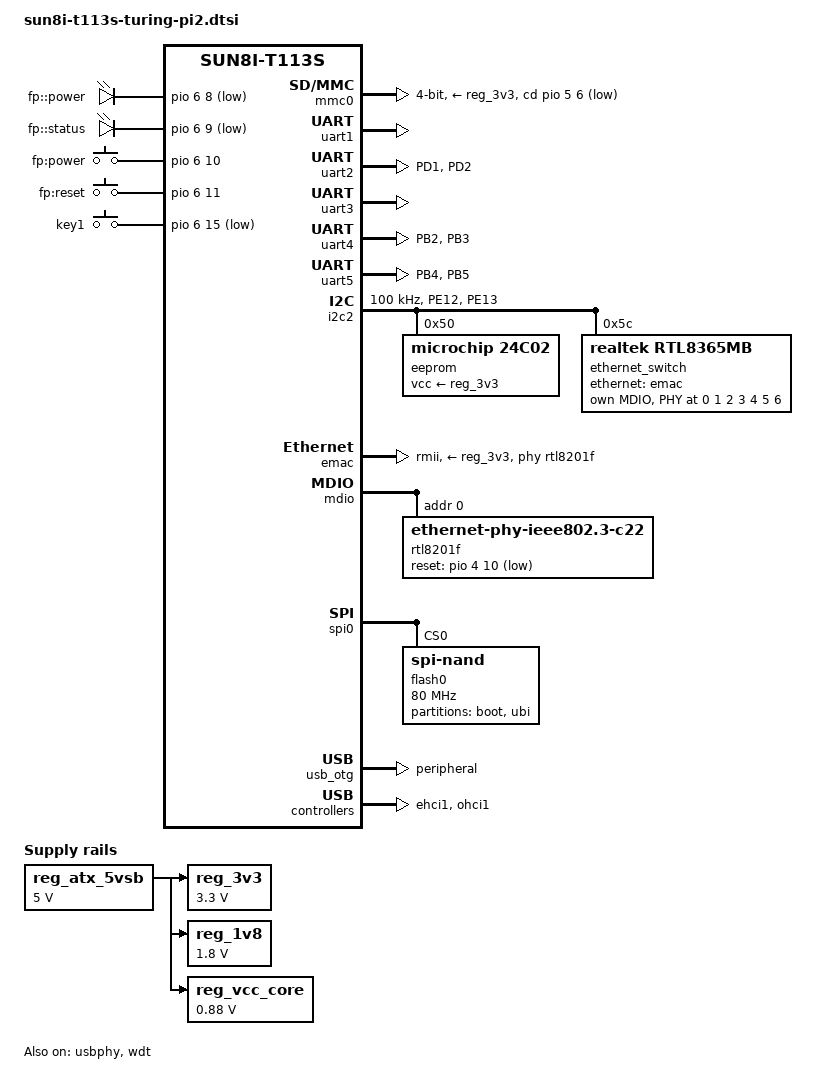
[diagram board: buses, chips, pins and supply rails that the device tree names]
// SPDX-License-Identifier: GPL-2.0+
// Copyright (C) 2023-2024 Sam Edwards <CFSworks@gmail.com>

/dts-v1/;

#ifdef __ASSEMBLY__
#define IS_UBOOT
#endif

#ifdef IS_UBOOT
#include "sun8i-t113s.dtsi"
#else
#include "allwinner/sun8i-t113s.dtsi"
#endif
#include <dt-bindings/gpio/gpio.h>
#include <dt-bindings/input/input.h>

/ {
	compatible = "turing,pi2", "allwinner,sun8i-t113s";

	aliases {
		ethernet0 = &emac;
		serial0 = &uart3;
		serial1 = &uart2;
		serial2 = &uart1;
		serial3 = &uart4;
		serial4 = &uart5;
		flash0 = &flash0;
	};

	// The LEDs are actually GPIO lines that go to the front-panel LEDs.
	leds {
		compatible = "gpio-leds";

		led-0 {
			label = "fp::power";
			gpios = <&pio 6 8 GPIO_ACTIVE_LOW>; /* PG8 */
		};

		led-1 {
			label = "fp::status";
			gpios = <&pio 6 9 GPIO_ACTIVE_LOW>; /* PG9 */
		};
	};

	keys {
		compatible = "gpio-keys";

		// Part of the front-panel connector
		button-power {
			label = "fp:power";
			linux,code = <KEY_POWER>;
			gpios = <&pio 6 10 GPIO_ACTIVE_HIGH>; /* PG10 */
		};

		button-reset {
			label = "fp:reset";
			linux,code = <KEY_RESTART>;
			gpios = <&pio 6 11 GPIO_ACTIVE_HIGH>; /* PG11 */
		};

		// Located on the board itself
		key-1 {
			label = "key1";
			linux,code = <KEY_1>;
			gpios = <&pio 6 15 GPIO_ACTIVE_LOW>; /* PG15 */
		};
	};

	reg_atx_5vsb: regulator-5v {
		compatible = "regulator-fixed";
		regulator-name = "atx-5vsb";
		regulator-min-microvolt = <5000000>;
		regulator-max-microvolt = <5000000>;
		regulator-always-on;
	};

	reg_3v3: regulator-3v3 {
		compatible = "regulator-fixed";
		regulator-name = "vcc-3v3";
		regulator-min-microvolt = <3300000>;
		regulator-max-microvolt = <3300000>;
		vin-supply = <&reg_atx_5vsb>;
	};

	reg_1v8: regulator-1v8 {
		compatible = "regulator-fixed";
		regulator-name = "vcc-1v8";
		regulator-min-microvolt = <1800000>;
		regulator-max-microvolt = <1800000>;
		vin-supply = <&reg_atx_5vsb>;
	};

	reg_vcc_core: regulator-core {
		compatible = "regulator-fixed";
		regulator-name = "vcc-core";
		regulator-min-microvolt = <880000>;
		regulator-max-microvolt = <880000>;
		vin-supply = <&reg_atx_5vsb>;
	};
};

/*
 * The SoC's thermal sensor. Mainline describes every other T113s peripheral
 * but not this one: sun8i-t113s.dtsi and the shared sunxi-d1*-t113 dtsis
 * contain no ths node and no thermal-zones, so CONFIG_SUN8I_THERMAL builds a
 * driver that never binds to anything. The result on a running board is
 * /sys/class/thermal holding only the fan's cooling_device0 -- an actuator,
 * with nothing to actuate against -- which is why the fan sits at full speed
 * and why nothing anywhere can report the board's temperature.
 *
 * Everything the driver needs is already present:
 *   - drivers/thermal/sun8i_thermal.c matches "allwinner,sun20i-d1-ths"
 *   - CLK_BUS_THS and RST_BUS_THS are defined for the D1/T113 CCU, and
 *     ccu-sun20i-d1.c implements bus_ths_clk
 * so this is a device tree gap, not a driver one.
 *
 * Register base: gpadc sits at 0x2009000 with length 0x400, and the THS block
 * follows it immediately. Interrupt 58 is free and falls between gpadc (57)
 * and the timers (59), matching the D1 peripheral ordering.
 *
 * Calibration is deliberately NOT wired up. The driver treats the nvmem cell
 * as optional and says so: "Even if the external calibration data stored in
 * sid is not accessible, the THS hardware can still work, although the data
 * won't be so accurate." An absent cell degrades accuracy; a cell pointed at
 * the wrong efuse offset would silently skew every reading instead, which is
 * worse. Get a sensor reporting first, then refine it against a known
 * reference.
 */
&{/soc} {
	ths: thermal-sensor@2009400 {
		compatible = "allwinner,sun20i-d1-ths";
		reg = <0x2009400 0x400>;
		interrupts = <SOC_PERIPHERAL_IRQ(58) IRQ_TYPE_LEVEL_HIGH>;
		clocks = <&ccu CLK_BUS_THS>;
		clock-names = "bus";
		resets = <&ccu RST_BUS_THS>;
		#thermal-sensor-cells = <0>;
	};
};

/ {
	thermal-zones {
		bmc-thermal {
			polling-delay-passive = <1000>;
			polling-delay = <5000>;
			thermal-sensors = <&ths>;

			trips {
				/*
				 * "hot" only raises a notification. There is
				 * deliberately no "critical" trip: that would
				 * hand an UNCALIBRATED sensor the power to
				 * shut the board down, and a BMC that powers
				 * itself off is a service call. Add one once
				 * the readings have been checked against a
				 * reference.
				 */
				bmc_hot: bmc-hot {
					temperature = <95000>;
					hysteresis = <5000>;
					type = "hot";
				};
			};
		};
	};
};

&dcxo {
	clock-frequency = <24000000>;
};

&cpu0 {
	clock-frequency = <1008000000>;
	cpu-supply = <&reg_vcc_core>;
};

&cpu1 {
	clock-frequency = <1008000000>;
	cpu-supply = <&reg_vcc_core>;
};

&pio {
	vcc-pb-supply = <&reg_3v3>;
	vcc-pc-supply = <&reg_3v3>;
	vcc-pd-supply = <&reg_1v8>;
	vcc-pe-supply = <&reg_3v3>;
	vcc-pf-supply = <&reg_3v3>;
	vcc-pg-supply = <&reg_3v3>;

	i2c2_pe12_pins: i2c2-pe12-pins {
		pins = "PE12", "PE13";
		function = "i2c2";
		drive-strength = <20>;
	};

	uart2_pd_pins: uart2-pd-pins {
		pins = "PD1", "PD2";
		function = "uart2";
		bias-pull-up;
	};

	uart4_pb_pins: uart4-pb-pins {
		pins = "PB2", "PB3";
		function = "uart4";
		bias-pull-up;
	};

	uart5_pb_pins: uart5-pb-pins {
		pins = "PB4", "PB5";
		function = "uart5";
		bias-pull-up;
	};
};

&mmc0 {
	status = "okay";
	vmmc-supply = <&reg_3v3>;

	pinctrl-names = "default";
	pinctrl-0 = <&mmc0_pins>;

	bus-width = <4>;
	cd-gpios = <&pio 5 6 (GPIO_ACTIVE_LOW | GPIO_PULL_UP)>; /* PF6 */
	no-sdio;
};

&uart1_pg6_pins {
	bias-pull-up;
};

&uart1 {
	status = "okay";

	pinctrl-names = "default";
	pinctrl-0 = <&uart1_pg6_pins>;
};

&uart2 {
	status = "okay";

	pinctrl-names = "default";
	pinctrl-0 = <&uart2_pd_pins>;
};

&uart3_pb_pins {
	bias-pull-up;
};

&uart3 {
	status = "okay";

	pinctrl-names = "default";
	pinctrl-0 = <&uart3_pb_pins>;
};

&uart4 {
	status = "okay";

	pinctrl-names = "default";
	pinctrl-0 = <&uart4_pb_pins>;
};

&uart5 {
	status = "okay";

	pinctrl-names = "default";
	pinctrl-0 = <&uart5_pb_pins>;
};

&i2c2 {
	status = "okay";

	pinctrl-names = "default";
	pinctrl-0 = <&i2c2_pe12_pins>;

	clock-frequency = <100000>;

	eeprom@50 {
		compatible = "microchip,24c02", "atmel,24c02";
		reg = <0x50>;
		vcc-supply = <&reg_3v3>;
		pagesize = <16>;

		#address-cells = <1>;
		#size-cells = <1>;

		mac_address: mac-address@2c {
			reg = <0x2c 0x06>;
		};
	};

	ethernet_switch: ethernet-switch@5c {
		compatible = "realtek,rtl8365mb";
		reg = <0x5c>;

		ethernet-ports {
			#address-cells = <1>;
			#size-cells = <0>;

			ethernet-port@0 {
				reg = <0>;
				label = "node1";
				phy-handle = <&ethphy0>;
				phy-mode = "internal";
			};
			ethernet-port@1 {
				reg = <1>;
				label = "node2";
				phy-handle = <&ethphy1>;
				phy-mode = "internal";
			};
			ethernet-port@2 {
				reg = <2>;
				label = "node3";
				phy-handle = <&ethphy2>;
				phy-mode = "internal";
			};
			ethernet-port@3 {
				reg = <3>;
				label = "node4";
				phy-handle = <&ethphy3>;
				phy-mode = "internal";
			};
			ethernet-port@4 {
				reg = <4>;
				label = "cpu";
				ethernet = <&emac>;
				phy-handle = <&ethphy4>;
				phy-mode = "internal";
			};
			ethernet-port@5 {
				reg = <5>;
				label = "ge0";
				phy-handle = <&ethphy5>;
				phy-mode = "internal";
			};
			ethernet-port@6 {
				reg = <6>;
				label = "ge1";
				phy-handle = <&ethphy6>;
				phy-mode = "internal";
			};
		};

		mdio {
			compatible = "realtek,smi-mdio";
			#address-cells = <1>;
			#size-cells = <0>;

			ethphy0: ethernet-phy@0 {
				reg = <0>;
			};
			ethphy1: ethernet-phy@1 {
				reg = <1>;
			};
			ethphy2: ethernet-phy@2 {
				reg = <2>;
			};
			ethphy3: ethernet-phy@3 {
				reg = <3>;
			};
			ethphy4: ethernet-phy@4 {
				reg = <4>;
			};
			ethphy5: ethernet-phy@5 {
				reg = <5>;
			};
			ethphy6: ethernet-phy@6 {
				reg = <6>;
			};
		};
	};
};

&emac {
	status = "okay";
	nvmem-cells = <&mac_address>;
	nvmem-cell-names = "mac-address";
	pinctrl-names = "default";
	pinctrl-0 = <&rmii_pe_pins>;
	phy-handle = <&rtl8201f>;
	phy-mode = "rmii";
	phy-supply = <&reg_3v3>;
	allwinner,tx-delay-ps = <300>;
	allwinner,rx-delay-ps = <0>;
};

&mdio {
	rtl8201f: ethernet-phy@0 {
		compatible = "ethernet-phy-ieee802.3-c22";
		reg = <0>;
		reset-gpios = <&pio 4 10 GPIO_ACTIVE_LOW>; /* PE10 */
	};
};

&pio {
	/omit-if-no-ref/
	i2c0_pg_pins: i2c0-pg-pins {
		pins = "PG12", "PG13";
		function = "i2c0";
	};

	/omit-if-no-ref/
	pwm5_pd_pin: pwm5-pd-pin {
		pins = "PD21";
		function = "pwm5";
	};
};

&spi0_pins {
	pins = "PC2", "PC3", "PC4", "PC5", "PC6", "PC7";
};

&spi0 {
	status = "okay";

	pinctrl-names = "default";
	pinctrl-0 = <&spi0_pins>;

	flash0: flash@0 {
		compatible = "spi-nand";
		reg = <0x0>;

		spi-max-frequency=<80000000>;
#ifndef IS_UBOOT
		spi-rx-bus-width=<4>;
		spi-tx-bus-width=<4>;
#endif

		partitions {
			compatible = "fixed-partitions";
			#address-cells = <1>;
			#size-cells = <1>;

			partition@0 {
				label = "boot";
				reg = <0x00000000 0x00100000>;
			};

			partition@100000 {
				label = "ubi";
				reg = <0x00100000 0x07f00000>;
			};
		};
	};
};

&usb_otg {
	dr_mode = "peripheral";
	status = "okay";
};

&ehci1 {
	status = "okay";
};

&ohci1 {
	status = "okay";
};

&usbphy {
	status = "okay";
};

&wdt {
	status = "okay";
};
